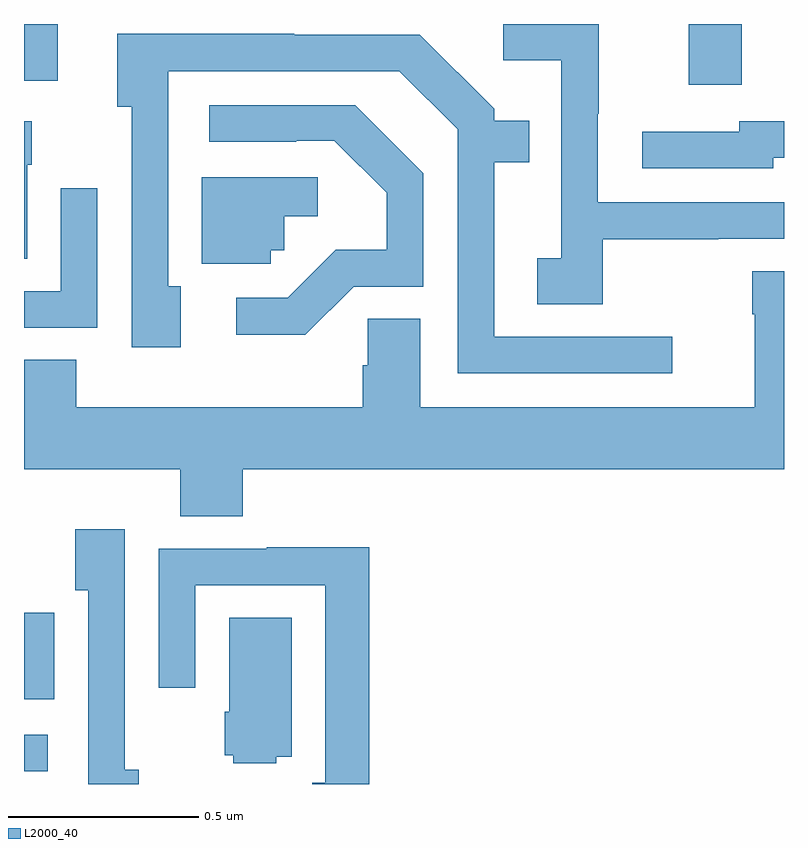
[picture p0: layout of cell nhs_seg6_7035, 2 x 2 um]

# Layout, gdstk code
import gdstk
lib = gdstk.Library(unit=1e-6, precision=1e-09)
def R(c, l, rs):  # rectangles x0, y0, x1, y1
    for r in rs: c.add(gdstk.rectangle(r[:2], r[2:], *l))
def P(c, l, *ps):  # polygons
    for p in ps: c.add(gdstk.Polygon(p, *l))
L2000_40 = (2000, 40)

nhs_seg6_7035 = lib.new_cell('nhs_seg6_7035')
R(nhs_seg6_7035, L2000_40, [(203,954.534,203.062,954.63), (203,954.723,203.08,954.951), (204.749,956.34,204.889,956.5), (203,956.351,203.089,956.5)])
P(nhs_seg6_7035, L2000_40, [(204.523,955.933),(204.827,955.933),(204.827,955.935),(205,955.935),(205,956.031),(204.51,956.031),(204.51,956.264),(204.513,956.264),(204.513,956.5),(204.261,956.5),(204.261,956.405),(204.414,956.405),(204.414,955.884),(204.351,955.884),(204.351,955.762),(204.523,955.762)],
  [(204.706,955.677),(204.238,955.677),(204.238,956.136),(204.329,956.136),(204.329,956.245),(204.237,956.245),(204.237,956.277),(204.042,956.472),(203.711,956.472),(203.711,956.474),(203.246,956.474),(203.246,956.282),(203.283,956.282),(203.283,955.65),(203.413,955.65),(203.413,955.81),(203.379,955.81),(203.379,956.376),(203.988,956.376),(204.141,956.223),(204.141,955.581),(204.706,955.581)],
  [(203.868,955.809),(204.051,955.809),(204.051,956.107),(203.872,956.286),(203.487,956.286),(203.487,956.19),(203.717,956.19),(203.717,956.193),(203.817,956.193),(203.954,956.056),(203.954,955.906),(203.821,955.906),(203.694,955.779),(203.559,955.779),(203.559,955.682),(203.74,955.682)],
  [(204.972,956.148),(205,956.148),(205,956.244),(204.882,956.244),(204.882,956.217),(204.627,956.217),(204.627,956.121),(204.972,956.121)],
  [(203.008,956.13),(203.02,956.13),(203.02,956.244),(203,956.244),(203,955.882),(203.008,955.882)],
  [(203.649,955.905),(203.685,955.905),(203.685,955.994),(203.773,955.994),(203.773,956.097),(203.468,956.097),(203.468,955.869),(203.649,955.869)],
  [(203.193,956.068),(203.097,956.068),(203.097,955.797),(203,955.797),(203,955.701),(203.193,955.701)],
  [(203.576,955.328),(205,955.328),(205,955.849),(204.916,955.849),(204.916,955.736),(204.923,955.736),(204.923,955.492),(204.043,955.492),(204.043,955.724),(203.905,955.724),(203.905,955.602),(203.891,955.602),(203.891,955.492),(203.138,955.492),(203.138,955.616),(203,955.616),(203,955.328),(203.411,955.328),(203.411,955.204),(203.576,955.204)],
  [(203.302,954.538),(203.265,954.538),(203.265,955.171),(203.135,955.171),(203.135,955.01),(203.169,955.01),(203.169,954.5),(203.302,954.5)],
  [(203.909,955.123),(203.639,955.123),(203.639,955.119),(203.355,955.119),(203.355,954.753),(203.451,954.753),(203.451,955.023),(203.793,955.023),(203.793,954.503),(203.759,954.503),(203.759,954.5),(203.909,954.5)],
  [(203.664,954.572),(203.704,954.572),(203.704,954.938),(203.54,954.938),(203.54,954.69),(203.528,954.69),(203.528,954.576),(203.55,954.576),(203.55,954.554),(203.664,954.554)])

lib.write_gds('nhs_seg6_7035.gds')
